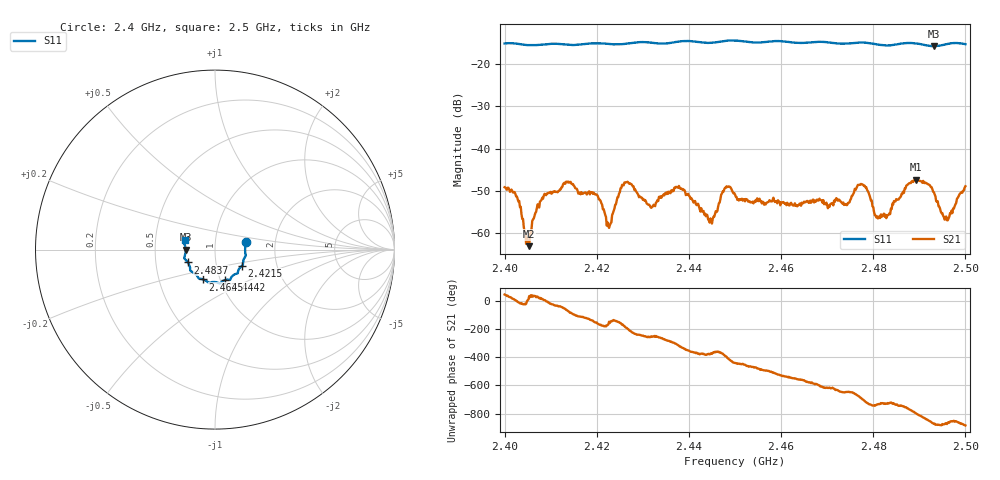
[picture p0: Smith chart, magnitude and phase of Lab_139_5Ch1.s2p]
# Hz S RI R 50
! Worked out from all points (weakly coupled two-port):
!   601 points, 2.4 GHz to 2.5 GHz, reference 50 ohm
!   highest |S21| = -47.30 dB at 2.4893 GHz (marker M1); lowest = -63.1 dB at 2.4053 GHz (marker M2)
!   lowest |S11| = -15.7 dB at 2.4932 GHz (marker M3), VSWR 1.39, Z = 35.9 - j0.0531 ohm
!   |S11| at or under -10 dB: start of sweep to end of sweep
!   S12 and S22 are empty: the file has one direction only
!   S11 on the Smith chart (normalised r, x): 2.4 GHz: 1.41, +0.12; 2.4215 GHz: 1.33, -0.25; 2.4442 GHz: 1.05, -0.37; 2.4645 GHz: 0.83, -0.29; 2.4837 GHz: 0.73, -0.11; 2.5 GHz: 0.71, +0.07
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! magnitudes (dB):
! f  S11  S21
! 2.4 GHz  -15.1  -49.1
! 2.4027 GHz  -15.2  -51.3
! 2.4053 GHz  -15.5  -63.1
! 2.409 GHz  -15.3  -51.0
! 2.4167 GHz  -15.3  -50.3
! 2.4215 GHz  -15.1  -54.3
! 2.4227 GHz  -15.2  -58.8
! 2.4265 GHz  -15.1  -47.9
! 2.4333 GHz  -15.1  -52.4
! 2.4378 GHz  -14.6  -48.8
! 2.4442 GHz  -15.0  -56.8
! 2.4482 GHz  -14.5  -48.9
! 2.45 GHz  -14.4  -50.8
! 2.4645 GHz  -15.0  -52.8
! 2.4667 GHz  -14.8  -52.6
! 2.4773 GHz  -14.9  -48.3
! 2.4833 GHz  -15.6  -55.7
! 2.4837 GHz  -15.5  -55.5
! 2.4893 GHz  -15.1  -47.3
! 2.4932 GHz  -15.7  -50.3
! 2.496 GHz  -15.2  -56.9
! 2.5 GHz  -15.3  -48.9
